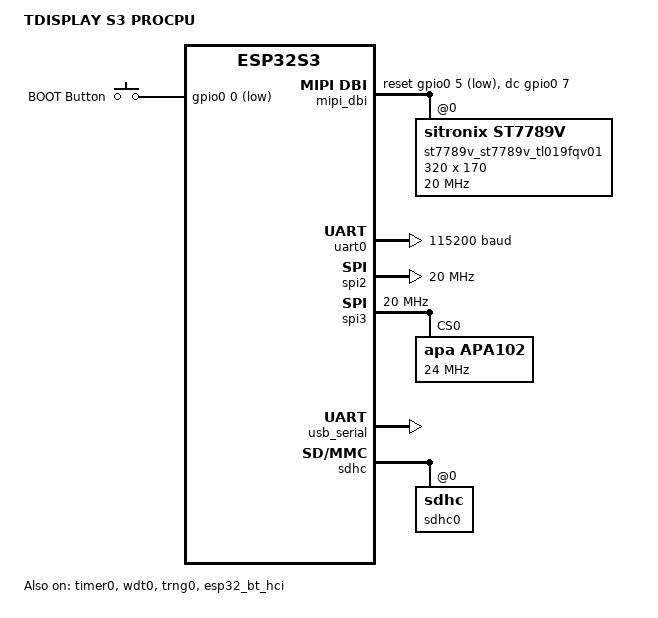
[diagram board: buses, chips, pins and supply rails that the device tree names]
/*
 * Copyright 2025 Stefan Golinschi <stefan.golinschi@gmail.com>
 *
 * SPDX-License-Identifier: Apache-2.0
 */

/dts-v1/;

#include <espressif/esp32s3/esp32s3_wroom_n16r8.dtsi>
#include "tdisplay_s3-pinctrl.dtsi"
#include <zephyr/dt-bindings/input/input-event-codes.h>
#include <zephyr/dt-bindings/mipi_dbi/mipi_dbi.h>
#include <espressif/partitions_0x0_amp.dtsi>
#include <zephyr/dt-bindings/led/led.h>

/ {
	model = "TDISPLAY S3 PROCPU";
	compatible = "espressif,esp32s3";

	aliases {
		watchdog0 = &wdt0;
		sdhc0 = &sdhc0;
		uart-0 = &uart0;
		sw0 = &button0;
		led-strip = &apa102;
	};

	chosen {
		zephyr,sram = &sram0;
		/* console can be UART or USB CDC */
		/* zephyr,console = &uart0; */
		/* zephyr,shell-uart = &uart0; */
		zephyr,console = &usb_serial;
		zephyr,shell-uart = &usb_serial;
		zephyr,flash = &flash0;
		zephyr,code-partition = &slot0_partition;
		zephyr,bt-hci = &esp32_bt_hci;
		zephyr,display = &st7789v_st7789v_tl019fqv01;
		zephyr,sdhc = &sdhc0;
	};

	buttons {
		compatible = "gpio-keys";
		status = "okay";

		button0: button_0 {
			gpios = <&gpio0 0 (GPIO_PULL_UP | GPIO_ACTIVE_LOW)>;
			label = "BOOT Button";
			zephyr,code = <INPUT_KEY_0>;
		};
	};

	mipi_dbi {
		compatible = "zephyr,mipi-dbi-spi";
		spi-dev = <&spi2>;
		dc-gpios = <&gpio0 7 GPIO_ACTIVE_HIGH>;	/* D9 */
		reset-gpios = <&gpio0 5 GPIO_ACTIVE_LOW>;	/* D8 */
		write-only;
		#address-cells = <1>;
		#size-cells = <0>;
		

		st7789v_st7789v_tl019fqv01: st7789v@0 {
			compatible = "sitronix,st7789v";
			mipi-max-frequency = <20000000>;
			reg = <0>;
			width = <320>;
			height = <170>;
			x-offset = <0>;
			y-offset = <35>;
			vcom = <0x2b>;
			gctrl = <0x35>;
			vrhs = <0x0f>;
			vdvs = <0x20>;
			mdac = <0x60>;
			gamma = <0x01>;
			colmod = <0x55>;
			lcm = <0x2c>;
			porch-param = [0c 0c 00 33 33];
			cmd2en-param = [5a 69 02 01];
			pwctrl1-param = [52 a1];
			pvgam-param = [D0 00 02 07 0B 1A 31 54 40 29 12 12 12 17];
			nvgam-param = [D0 00 02 07 05 15 2D 44 44 1C 18 16 1C 1D];
			ram-param = [00 F8];
			rgb-param = [CD 08 14];
			mipi-mode = "MIPI_DBI_MODE_SPI_4WIRE";

		};
	};
};

&uart0 {
	current-speed = <115200>;
	pinctrl-0 = <&uart0_default>;
	pinctrl-names = "default";
	status = "okay";
};

&spi2 {
	#address-cells = <1>;
	#size-cells = <0>;
	cs-gpios = <&gpio0 4 GPIO_ACTIVE_LOW>;
	pinctrl-0 = <&spim2_default>;
	pinctrl-names = "default";
	clock-frequency = <20000000>;
	status = "okay";
};

&spi3 {
	#address-cells = <1>;
	#size-cells = <0>;
	pinctrl-0 = <&spim3_default>;
	pinctrl-names = "default";
	clock-frequency = <20000000>;
	status = "okay";

	apa102: apa102@0 {
		compatible = "apa,apa102";
		reg = <0>;
		spi-max-frequency = <24000000>;
		chain-length = <1>;
		color-mapping = <LED_COLOR_ID_RED
						 LED_COLOR_ID_BLUE
						 LED_COLOR_ID_GREEN>;
		status = "okay";
	};
};

&usb_serial {
	status = "okay";
};

&timer0 {
	status = "okay";
};

&wdt0 {
	status = "okay";
};

&trng0 {
	status = "okay";
};

&esp32_bt_hci {
	status = "okay";
};

&sdhc {
	sdhc0: sdhc@0 {
		pinctrl-0 = <&sdhc0_default>;
		pinctrl-names = "default";
		power-delay-ms = <100>;
		max-bus-freq = <52000000>;
		bus-width = <4>;
		status = "okay";

		mmc {
			compatible = "zephyr,sdmmc-disk";
			disk-name = "SD";
			status = "okay";
		};
	};
};
